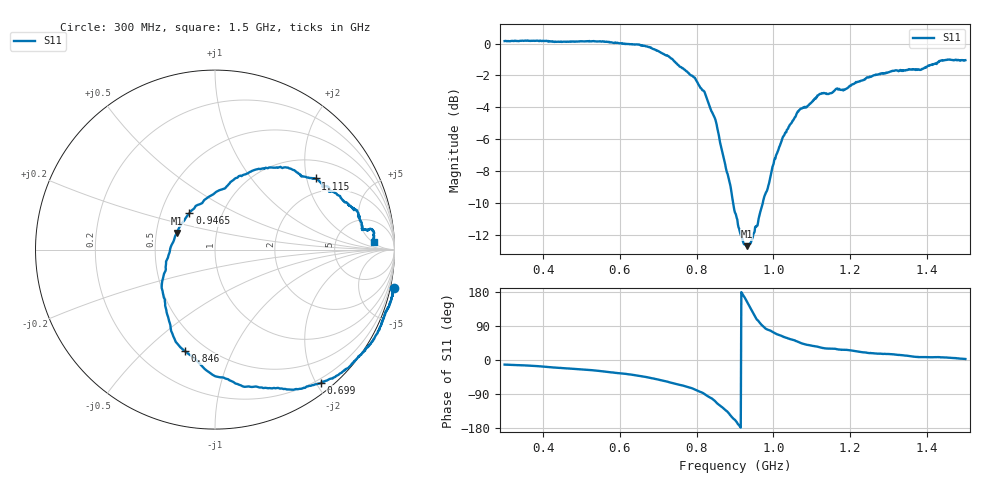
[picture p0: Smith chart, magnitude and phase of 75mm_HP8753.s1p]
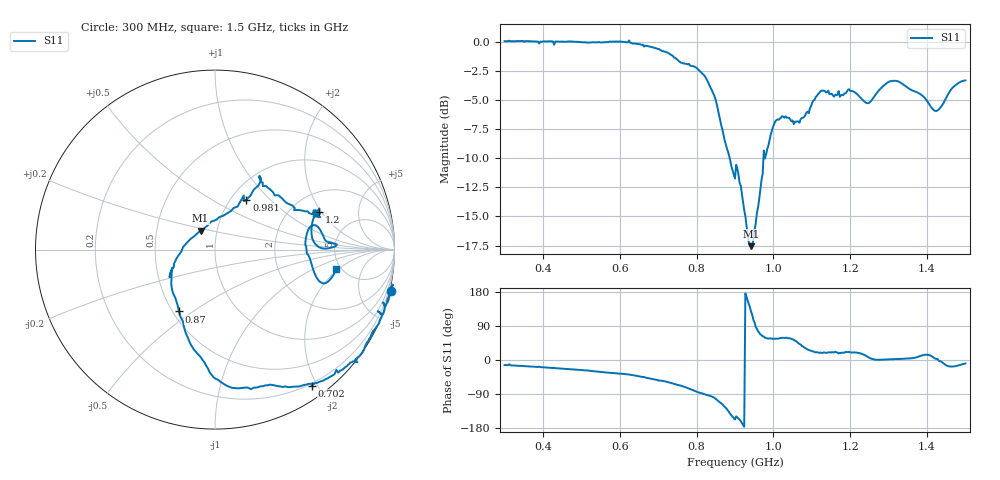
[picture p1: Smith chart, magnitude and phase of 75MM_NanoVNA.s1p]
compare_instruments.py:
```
import cmath, math, random, os

HERE = os.path.dirname(os.path.abspath(__file__))
MEAS = os.path.join(HERE, "..", "touchstone")   # the sample files live there

def read(path):
    out=[]; unit=1.0; fmt='RI'
    for line in open(os.path.join(MEAS, path) if not os.path.isabs(path)
                     and not os.path.exists(path) else path):
        s=line.strip()
        if not s or s.startswith('!'): continue
        if s.startswith('#'):
            t=s.upper().split(); unit={'HZ':1e-6,'KHZ':1e-3,'MHZ':1.0,'GHZ':1e3}[t[1]]; fmt=t[3]; continue
        p=s.split(); f=float(p[0])*unit; a,b=float(p[1]),float(p[2])
        g = complex(a,b) if fmt=='RI' else a*cmath.exp(1j*b*math.pi/180)
        if abs(g) >= 1.0: g = g/abs(g)*0.9995      # measurement noise, clamp to passive
        out.append((f, 50*(1+g)/(1-g)))
    return out

def band_of(data, fc, fbw, n=41):
    lo,hi = fc*(1-fbw/2), fc*(1+fbw/2)
    fs=[lo+(hi-lo)*i/(n-1) for i in range(n)]
    xs=[f for f,_ in data]
    out=[]
    for f in fs:                                   # linear interpolation on Z
        k=max(i for i in range(len(xs)-1) if xs[i]<=f)
        t=(f-xs[k])/(xs[k+1]-xs[k])
        out.append((f, data[k][1]+(data[k+1][1]-data[k][1])*t))
    return out

def vswr(z):
    g=abs((z-50)/(z+50)); return (1+g)/(1-g) if g<1 else 999.0
def W(f): return 2*math.pi*f*1e6
def stubY(Zs,th,f,f0): return 1/(1j*Zs*math.tan(th*(f/f0)*math.pi/180))
def rot(z,Zl,th,f,f0):
    b=th*(f/f0)*math.pi/180
    return Zl*(z+1j*Zl*math.tan(b))/(Zl+1j*z*math.tan(b))

def T1(p,f,za,f0):
    L,Zs,th=p; return 1/(1/(za+1j*W(f)*L*1e-9)+stubY(Zs,th,f,f0))
def T2(p,f,za,f0):
    L,Zs,th,L2=p
    return 1/(1/(za+1j*W(f)*L*1e-9)+stubY(Zs,th,f,f0))+1j*W(f)*L2*1e-9
def T3(p,f,za,f0):
    L,Zs1,th1,Zl,thl,Zs2,th2=p
    z1=1/(1/(za+1j*W(f)*L*1e-9)+stubY(Zs1,th1,f,f0))
    return 1/(1/rot(z1,Zl,thl,f,f0)+stubY(Zs2,th2,f,f0))
TOP=[("L + stub",T1,[(1,150),(5,200),(20,170)]),
     ("L + stub + series L",T2,[(1,150),(5,200),(20,170),(0,150)]),
     ("L + stub + LINE + stub",T3,[(1,150),(5,200),(20,170),(10,150),(5,170),(5,200),(20,170)])]

def nelder(cost,x0,step,it=1200):
    n=len(x0); pts=[list(x0)]+[[x0[j]+(step[i] if i==j else 0) for j in range(n)] for i in range(n)]
    vals=[cost(p) for p in pts]
    for _ in range(it):
        o=sorted(range(len(pts)),key=lambda i:vals[i]); pts=[pts[i] for i in o]; vals=[vals[i] for i in o]
        if abs(vals[-1]-vals[0])<1e-7: break
        cen=[sum(p[i] for p in pts[:-1])/n for i in range(n)]
        ref=[cen[i]+(cen[i]-pts[-1][i]) for i in range(n)]; fr=cost(ref)
        if fr<vals[0]:
            ex=[cen[i]+2*(cen[i]-pts[-1][i]) for i in range(n)]; fe=cost(ex)
            pts[-1],vals[-1]=(ex,fe) if fe<fr else (ref,fr)
        elif fr<vals[-2]: pts[-1],vals[-1]=ref,fr
        else:
            co=[cen[i]+0.5*(pts[-1][i]-cen[i]) for i in range(n)]; fc=cost(co)
            if fc<vals[-1]: pts[-1],vals[-1]=co,fc
            else:
                for i in range(1,len(pts)):
                    pts[i]=[(pts[i][j]+pts[0][j])/2 for j in range(n)]; vals[i]=cost(pts[i])
    b=min(range(len(pts)),key=lambda i:vals[i]); return pts[b],vals[b]

def optimise(fn,bounds,pts,f0,restarts=25,seed=3):
    rng=random.Random(seed)
    def cost(p):
        if any(v<lo or v>hi for v,(lo,hi) in zip(p,bounds)): return 999.0
        try:
            w=0.0
            for f,za in pts:
                v=vswr(fn(p,f,za,f0))
                if v>w: w=v
                if w>=999: break
            return w
        except Exception: return 999.0
    step=[(hi-lo)*0.12 for lo,hi in bounds]; best=None
    for _ in range(restarts):
        x0=[rng.uniform(lo,hi) for lo,hi in bounds]
        p,v=nelder(cost,x0,step)
        if best is None or v<best[1]: best=(p,v)
    return best

HP=read("75mm_HP8753.s1p"); NV=read("75MM_NanoVNA.s1p")
for fc,fbw in ((916,0.20),(916,0.40)):
    print(f"\n=== band {fc} MHz, {fbw:.0%} wide "
          f"({fc*(1-fbw/2):.0f} to {fc*(1+fbw/2):.0f} MHz)")
    for label,data in (("HP 8753",HP),("NanoVNA",NV)):
        pts=band_of(data,fc,fbw)
        bare=max(vswr(z) for _,z in pts)
        print(f"  {label}   bare worst VSWR {bare:.3f}")
        for name,fn,b in TOP:
            p,v=optimise(fn,b,pts,fc)
            vals=", ".join(f"{x:.2f}" for x in p)
            print(f"      {name:24} {v:7.3f}   {vals}")
```
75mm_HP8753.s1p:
! HP 8753 S11 Measurement
! Created: 2026-09-27 17:32:02
! Number of points: 801
! Start frequency: 300.000000000 MHz
! Stop frequency: 1500.000000000 MHz
# MHz S RI R 50
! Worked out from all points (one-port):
!   801 points, 300 MHz to 1.5 GHz, reference 50 ohm
!   lowest |S11| = -12.7 dB at 930 MHz (marker M1), VSWR 1.60, Z = 32 + j6.28 ohm
!   |S11| at or under -10 dB: 895.1 MHz to 972.4 MHz (77.23 MHz wide, 8.27 % of centre)
!   S11 on the Smith chart (normalised r, x): 300 MHz: -0.81, -9.32; 699 MHz: 0.14, -2.07; 846 MHz: 0.39, -0.67; 946.5 MHz: 0.70, +0.30; 1.115 GHz: 1.51, +2.27; 1.5 GHz: 14, +6
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300  0.9957 -0.2146
552  0.8817 -0.5004
699  0.5923 -0.7411
700.5  0.5862 -0.7445
795  0.1649 -0.7646
846  -0.169 -0.565
886.5  -0.297 -0.214
930  -0.2121 0.0928
946.5  -0.1423 0.2026
1024.5  0.2397 0.4487
1101  0.521 0.4017
1114.5  0.5613 0.3963
1264.5  0.7617 0.2356
1500  0.8858 0.0412
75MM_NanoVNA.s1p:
!File created by NanoVNA
# Hz S RI R 50
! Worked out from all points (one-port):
!   401 points, 300 MHz to 1.5 GHz, reference 50 ohm
!   lowest |S11| = -17.5 dB at 942 MHz (marker M1), VSWR 1.31, Z = 41.7 + j8.96 ohm
!   |S11| at or under -10 dB: 886.2 MHz to 974 MHz (87.84 MHz wide, 9.44 % of centre); 977.8736 MHz to 978.2439 MHz (370.3 kHz wide, 0.0379 % of centre)
!   S11 on the Smith chart (normalised r, x): 300 MHz: -0.18, -8.56; 702 MHz: 0.17, -1.93; 870 MHz: 0.54, -0.44; 981 MHz: 1.18, +0.73; 1.2 GHz: 2.81, +1.89; 1.5 GHz: 4.52, -1.83
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3e8  0.9778 -0.2315
6.03e8  0.8067 -0.5918
7.02e8  0.5391 -0.7584
8.07e8  0.0518 -0.7506
8.7e8  -0.2009 -0.3443
9.42e8  -0.0803 0.1055
9.81e8  0.1748 0.2778
1.029e9  0.251 0.3991
1.101e9  0.5031 0.2131
1.2e9  0.5782 0.2091
1.269e9  0.6015 0.00626
1.422e9  0.503 0.0325
1.461e9  0.5903 -0.1832
1.5e9  0.6734 -0.1081
